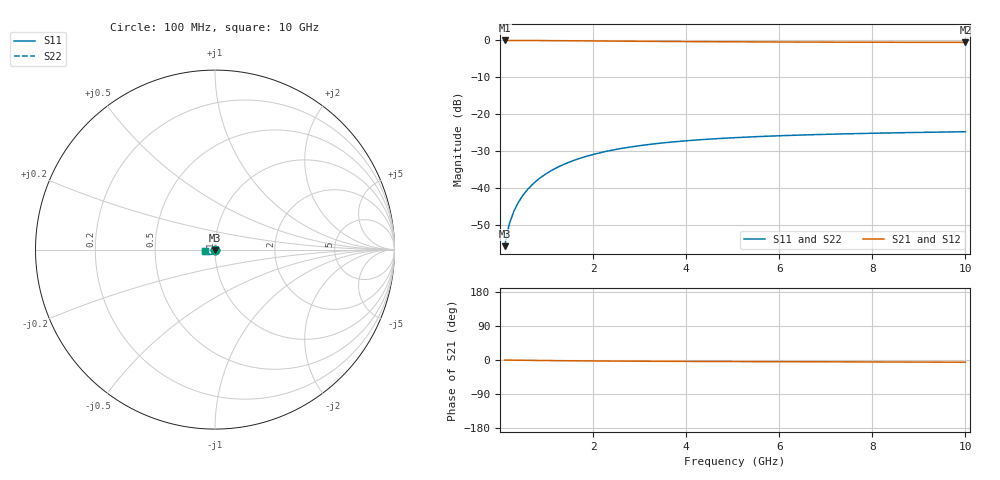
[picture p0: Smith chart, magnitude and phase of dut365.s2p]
! Touchstone file exported from HFSS 2024.1.0
!  File:  C:/UserFiles/LocalFiles/RDL_TSV_Batchsim/temp_TSV1_365_1779621428.aedt
!  Generated:  07:22:27 PM May 24, 2026
!  Design:  TSV1
!  Project:  temp_TSV1_365_1779621428
!  Setup:  Setup1
!  Solution:  Sweep
! Variables:
!  dtsv = 11.59um
!  hbump = 3um
!  htsv = 91.73um
!  lrdl = 252.1521522um
!  p = 40
!  p1 = 50.24um
!  t = 500um
!  trdl = 3um
!  wrdl = 24.89489489um
# GHz S MA R 50.000000
! Terminal data exported
! Port[1] = TSV22_T1
! Port[2] = TSV22_T2
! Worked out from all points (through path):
!   100 points, 100 MHz to 10 GHz, reference 50 ohm
!   highest |S21| = 0.00 dB at 100 MHz (marker M1); lowest = -0.5 dB at 10 GHz (marker M2)
!   lowest |S11| = -55.8 dB at 100 MHz (marker M3), VSWR 1.00, Z = 50 - j0.162 ohm
!   |S11| at or under -10 dB: start of sweep to end of sweep
!   |S22| runs from -55.8 to -24.8 dB; largest |S21 - S12| = 5e-15
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0.1  0.001619 -87.5  0.9998 -0.1  0.9998 -0.1  0.001619 -87.5
! Gamma 0 0 0 0
! Port Impedance 50 0 50 0
0.2  0.003231 -91.2  0.9997 -0.3  0.9997 -0.3  0.003231 -91.2
0.3  0.004843 -93.6  0.9994 -0.4  0.9994 -0.4  0.004843 -93.6
0.4  0.006447 -95.6  0.999 -0.6  0.999 -0.6  0.006447 -95.6
0.5  0.00804 -97.6  0.9986 -0.7  0.9986 -0.7  0.00804 -97.6
0.6  0.009616 -99.4  0.9981 -0.9  0.9981 -0.9  0.009616 -99.4
0.7  0.01117 -101.2  0.9975 -1.0  0.9975 -1.0  0.01117 -101.2
0.8  0.0127 -103.0  0.9968 -1.1  0.9968 -1.1  0.0127 -103.0
0.9  0.0142 -104.7  0.996 -1.3  0.996 -1.3  0.0142 -104.7
1.1  0.01711 -108.1  0.9944 -1.5  0.9944 -1.5  0.01711 -108.1
1.4  0.0212 -112.9  0.9915 -1.9  0.9915 -1.9  0.0212 -112.9
1.6  0.02375 -116.0  0.9894 -2.1  0.9894 -2.1  0.02375 -116.0
1.8  0.02613 -118.9  0.9872 -2.3  0.9872 -2.3  0.02613 -118.9
2.1  0.02942 -123.0  0.9839 -2.6  0.9839 -2.6  0.02942 -123.0
2.5  0.03328 -128.0  0.9795 -2.9  0.9795 -2.9  0.03328 -128.0
2.9  0.0366 -132.5  0.9753 -3.1  0.9753 -3.1  0.0366 -132.5
3.4  0.0401 -137.6  0.9705 -3.4  0.9705 -3.4  0.0401 -137.6
4.2  0.0445 -144.6  0.9639 -3.8  0.9639 -3.8  0.0445 -144.6
5.1  0.04817 -151.0  0.9579 -4.1  0.9579 -4.1  0.04816 -151.0
6.7  0.05261 -160.1  0.9503 -4.7  0.9503 -4.7  0.05261 -160.1
8.4  0.05569 -167.7  0.945 -5.3  0.945 -5.3  0.05569 -167.7
10  0.05775 -173.5  0.9415 -5.8  0.9415 -5.8  0.05775 -173.5
